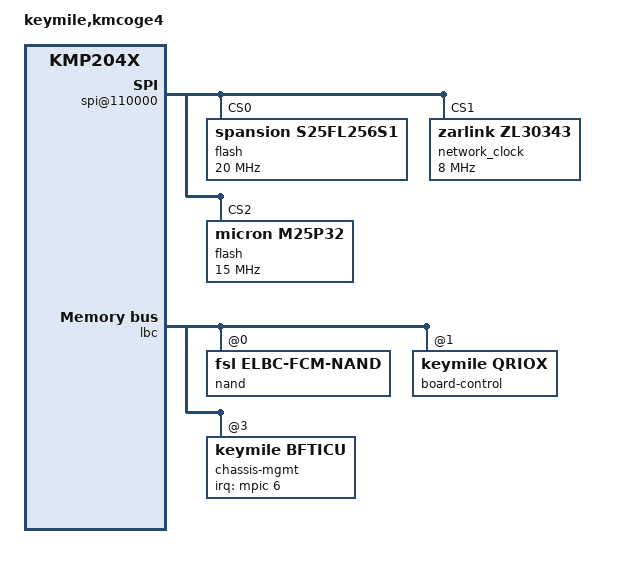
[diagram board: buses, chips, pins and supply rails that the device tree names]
/*
 * Keymile kmcoge4 Device Tree Source, based on the P2041RDB DTS
 *
 * (C) Copyright 2014
 * Valentin Longchamp, Keymile AG, valentin.longchamp@keymile.com
 *
 * Copyright 2011 Freescale Semiconductor Inc.
 *
 * This program is free software; you can redistribute  it and/or modify it
 * under  the terms of  the GNU General  Public License as published by the
 * Free Software Foundation;  either version 2 of the  License, or (at your
 * option) any later version.
 */

/include/ "fsl/p2041si-pre.dtsi"

/ {
	model = "keymile,kmcoge4";
	compatible = "keymile,kmcoge4", "keymile,kmp204x";
	#address-cells = <2>;
	#size-cells = <2>;
	interrupt-parent = <&mpic>;

	memory {
		device_type = "memory";
	};

	reserved-memory {
		#address-cells = <2>;
		#size-cells = <2>;
		ranges;

		bman_fbpr: bman-fbpr {
			size = <0 0x1000000>;
			alignment = <0 0x1000000>;
		};
		qman_fqd: qman-fqd {
			size = <0 0x400000>;
			alignment = <0 0x400000>;
		};
		qman_pfdr: qman-pfdr {
			size = <0 0x2000000>;
			alignment = <0 0x2000000>;
		};
	};

	dcsr: dcsr@f00000000 {
		ranges = <0x00000000 0xf 0x00000000 0x01008000>;
	};

	bportals: bman-portals@ff4000000 {
		ranges = <0x0 0xf 0xf4000000 0x200000>;
	};

	qportals: qman-portals@ff4200000 {
		ranges = <0x0 0xf 0xf4200000 0x200000>;
	};

	soc: soc@ffe000000 {
		ranges = <0x00000000 0xf 0xfe000000 0x1000000>;
		reg = <0xf 0xfe000000 0 0x00001000>;
		spi@110000 {
			flash@0 {
				#address-cells = <1>;
				#size-cells = <1>;
				compatible = "spansion,s25fl256s1";
				reg = <0>;
				spi-max-frequency = <20000000>; /* input clock */
			};

			network_clock@1 {
				compatible = "zarlink,zl30343";
				reg = <1>;
				spi-max-frequency = <8000000>;
			};

			flash@2 {
				#address-cells = <1>;
				#size-cells = <1>;
				compatible = "micron,m25p32";
				reg = <2>;
				spi-max-frequency = <15000000>;
			};
		};

		i2c@119000 {
			status = "disabled";
		};

		i2c@119100 {
			status = "disabled";
		};

		usb0: usb@210000 {
			status = "disabled";
		};

		usb1: usb@211000 {
			status = "disabled";
		};

		sata@220000 {
			status = "disabled";
		};

		sata@221000 {
			status = "disabled";
		};
	};

	rio: rapidio@ffe0c0000 {
		status = "disabled";
	};

	lbc: localbus@ffe124000 {
		reg = <0xf 0xfe124000 0 0x1000>;
		ranges = <0 0 0xf 0xffa00000 0x00040000		/* LB 0 */
			  1 0 0xf 0xfb000000 0x00010000		/* LB 1 */
			  2 0 0xf 0xd0000000 0x10000000		/* LB 2 */
			  3 0 0xf 0xe0000000 0x10000000>;	/* LB 3 */

		nand@0,0 {
			#address-cells = <1>;
			#size-cells = <1>;
			compatible = "fsl,elbc-fcm-nand";
			reg = <0 0 0x40000>;
		};

		board-control@1,0 {
			compatible = "keymile,qriox";
			reg = <1 0 0x80>;
		};

		chassis-mgmt@3,0 {
			compatible = "keymile,bfticu";
			interrupt-controller;
			#interrupt-cells = <2>;
			reg = <3 0 0x100>;
			interrupt-parent = <&mpic>;
			interrupts = <6 1 0 0>;
		};
	};

	pci0: pcie@ffe200000 {
		reg = <0xf 0xfe200000 0 0x1000>;
		ranges = <0x02000000 0 0xe0000000 0xc 0x00000000 0x0 0x20000000
			  0x01000000 0 0x00000000 0xf 0xf8000000 0x0 0x00010000>;
		pcie@0 {
			ranges = <0x02000000 0 0xe0000000
				  0x02000000 0 0xe0000000
				  0 0x20000000

				  0x01000000 0 0x00000000
				  0x01000000 0 0x00000000
				  0 0x00010000>;
		};
	};

	pci1: pcie@ffe201000 {
		status = "disabled";
	};

	pci2: pcie@ffe202000 {
		reg = <0xf 0xfe202000 0 0x1000>;
		ranges = <0x02000000 0 0xe0000000 0xc 0x20000000 0 0x20000000
			  0x01000000 0 0x00000000 0xf 0xf8010000 0 0x00010000>;
		pcie@0 {
			ranges = <0x02000000 0 0xe0000000
				  0x02000000 0 0xe0000000
				  0 0x20000000

				  0x01000000 0 0x00000000
				  0x01000000 0 0x00000000
				  0 0x00010000>;
		};
	};
};

/include/ "fsl/p2041si-post.dtsi"
